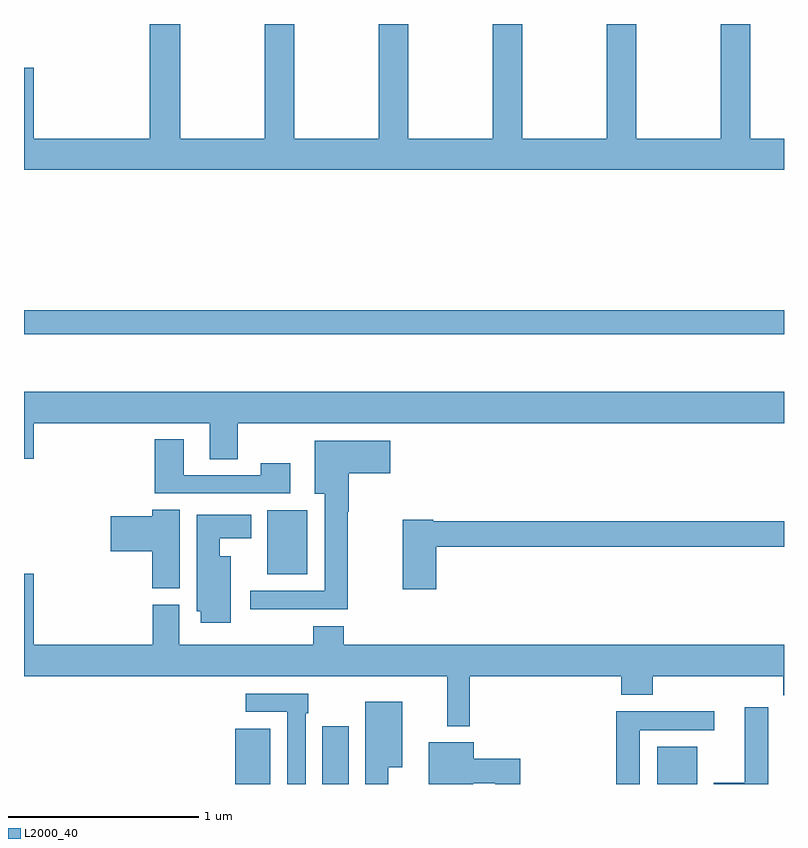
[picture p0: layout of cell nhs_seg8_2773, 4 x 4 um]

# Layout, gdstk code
import gdstk
lib = gdstk.Library(unit=1e-6, precision=1e-09)
def R(c, l, rs):  # rectangles x0, y0, x1, y1
    for r in rs: c.add(gdstk.rectangle(r[:2], r[2:], *l))
def P(c, l, *ps):  # polygons
    for p in ps: c.add(gdstk.Polygon(p, *l))
L2000_40 = (2000, 40)

nhs_seg8_2773 = lib.new_cell('nhs_seg8_2773')
R(nhs_seg8_2773, L2000_40, [(286.112,1147.9,286.297,1148.191), (286.571,1147.9,286.708,1148.203), (288.332,1147.9,288.544,1148.095), (286.28,1149.005,286.492,1149.34), (285,1150.266,289,1150.394)])
P(nhs_seg8_2773, L2000_40, [(286.267,1151.296),(285.822,1151.296),(285.822,1151.9),(285.662,1151.9),(285.662,1151.296),(285.052,1151.296),(285.052,1151.671),(285,1151.671),(285,1151.132),(289,1151.132),(289,1151.296),(288.822,1151.296),(288.822,1151.9),(288.667,1151.9),(288.667,1151.296),(288.222,1151.296),(288.222,1151.9),(288.067,1151.9),(288.067,1151.296),(287.622,1151.296),(287.622,1151.9),(287.467,1151.9),(287.467,1151.296),(287.022,1151.296),(287.022,1151.9),(286.867,1151.9),(286.867,1151.296),(286.422,1151.296),(286.422,1151.9),(286.267,1151.9)],
  [(286.125,1149.8),(289,1149.8),(289,1149.964),(285,1149.964),(285,1149.612),(285.052,1149.612),(285.052,1149.8),(285.977,1149.8),(285.977,1149.61),(286.125,1149.61)],
  [(286.402,1149.589),(286.246,1149.589),(286.246,1149.525),(285.841,1149.525),(285.841,1149.715),(285.689,1149.715),(285.689,1149.429),(286.402,1149.429)],
  [(286.704,1149.332),(286.709,1149.332),(286.709,1149.536),(286.927,1149.536),(286.927,1149.706),(286.529,1149.706),(286.529,1149.428),(286.583,1149.428),(286.583,1148.916),(286.191,1148.916),(286.191,1148.819),(286.704,1148.819)],
  [(285.82,1149.344),(285.674,1149.344),(285.674,1149.308),(285.456,1149.308),(285.456,1149.125),(285.674,1149.125),(285.674,1148.929),(285.82,1148.929)],
  [(286.087,1149.1),(286.03,1149.1),(286.03,1149.194),(286.195,1149.194),(286.195,1149.316),(285.908,1149.316),(285.908,1148.808),(285.929,1148.808),(285.929,1148.748),(286.087,1148.748)],
  [(287.171,1149.148),(289,1149.148),(289,1149.284),(287.154,1149.284),(287.154,1149.292),(286.993,1149.292),(286.993,1148.925),(287.171,1148.925)],
  [(287.345,1148.468),(288.143,1148.468),(288.143,1148.369),(288.308,1148.369),(288.308,1148.468),(288.995,1148.468),(288.995,1148.367),(289,1148.367),(289,1148.632),(286.682,1148.632),(286.682,1148.731),(286.522,1148.731),(286.522,1148.632),(285.817,1148.632),(285.817,1148.844),(285.677,1148.844),(285.677,1148.632),(285.052,1148.632),(285.052,1149.007),(285,1149.007),(285,1148.468),(287.227,1148.468),(287.227,1148.205),(287.345,1148.205)],
  [(286.482,1148.273),(286.495,1148.273),(286.495,1148.376),(286.167,1148.376),(286.167,1148.28),(286.386,1148.28),(286.386,1147.9),(286.482,1147.9)],
  [(286.918,1147.988),(286.99,1147.988),(286.99,1148.332),(286.796,1148.332),(286.796,1147.9),(286.918,1147.9)],
  [(288.916,1148.305),(288.794,1148.305),(288.794,1147.906),(288.629,1147.906),(288.629,1147.9),(288.916,1147.9)],
  [(288.241,1148.184),(288.634,1148.184),(288.634,1148.282),(288.116,1148.282),(288.116,1147.9),(288.241,1147.9)],
  [(287.364,1147.904),(287.481,1147.904),(287.481,1147.9),(287.611,1147.9),(287.611,1148.034),(287.368,1148.034),(287.368,1148.119),(287.129,1148.119),(287.129,1147.9),(287.364,1147.9)])

lib.write_gds('nhs_seg8_2773.gds')
